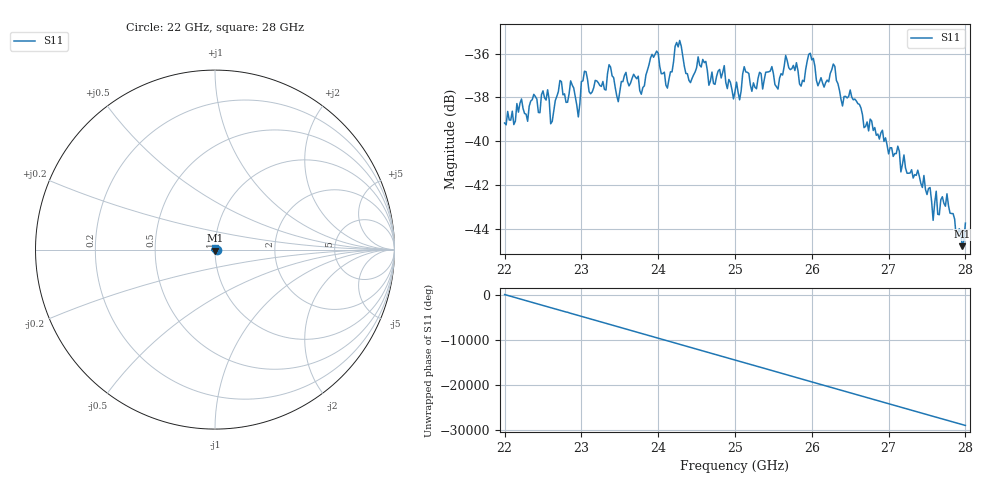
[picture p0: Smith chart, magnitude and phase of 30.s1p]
#  HZ  S  RI  R  50.00
! Rohde & Schwarz ZVA40 4Ports - Version 3.90 - 1145.1110k42 SN: 100403
! Date: 2023-10-04 07:28:22
! Measurement: S12
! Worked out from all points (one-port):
!   301 points, 22 GHz to 28 GHz, reference 50 ohm
!   lowest |S11| = -44.8 dB at 27.96 GHz (marker M1), VSWR 1.01, Z = 50.1 - j0.564 ohm
!   |S11| at or under -10 dB: start of sweep to end of sweep
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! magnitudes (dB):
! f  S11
! 22 GHz  -39.2
! 22.56 GHz  -37.7
! 22.6 GHz  -39.2
! 22.72 GHz  -37.2
! 22.76 GHz  -37.9
! 22.86 GHz  -37.2
! 22.96 GHz  -38.9
! 23.04 GHz  -36.8
! 23.32 GHz  -37.7
! 23.36 GHz  -36.5
! 23.5 GHz  -37.7
! 23.78 GHz  -37.9
! 23.98 GHz  -35.9
! 24.12 GHz  -37.6
! 24.26 GHz  -35.7
! 24.42 GHz  -37.3
! 24.52 GHz  -36.1
! 25 GHz  -37.7
! 25.76 GHz  -36.5
! 26.5 GHz  -37.7
! 27.26 GHz  -41.5
! 27.46 GHz  -41.6
! 27.58 GHz  -43.6
! 27.62 GHz  -42.3
! 27.66 GHz  -43.4
! 27.76 GHz  -42.4
! 27.96 GHz  -44.8
! 28 GHz  -43.7
